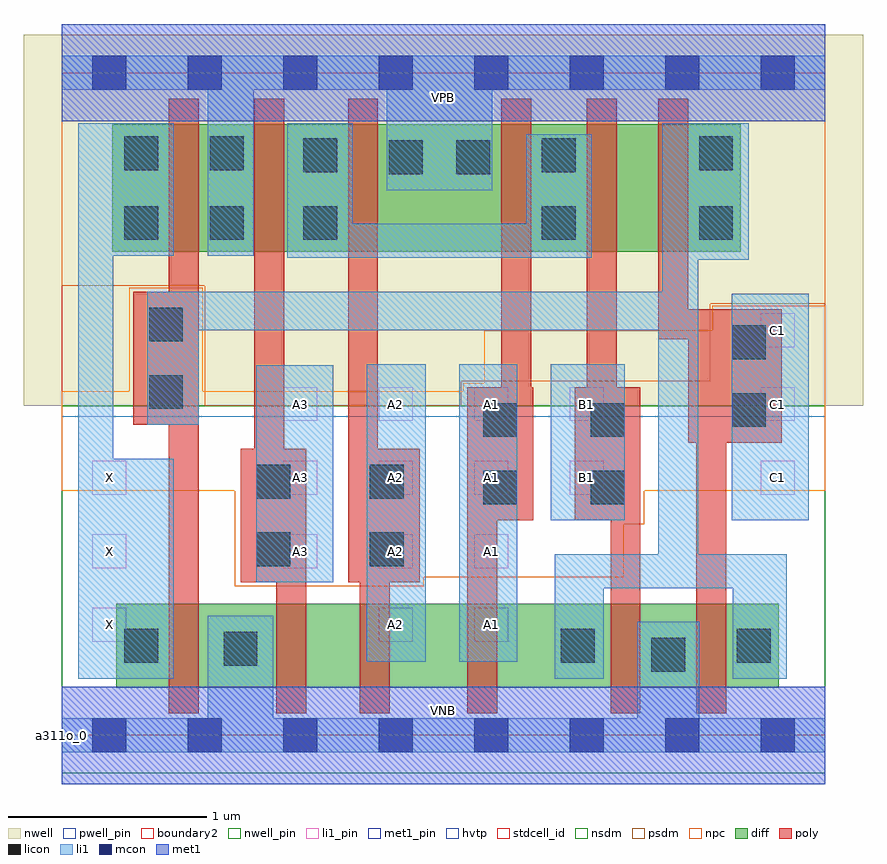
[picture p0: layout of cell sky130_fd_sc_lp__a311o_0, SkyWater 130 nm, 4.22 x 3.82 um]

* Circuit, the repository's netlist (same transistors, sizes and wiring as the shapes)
* Copyright 2020 The SkyWater PDK Authors
*
* Licensed under the Apache License, Version 2.0 (the "License");
* you may not use this file except in compliance with the License.
* You may obtain a copy of the License at
*
*     https://www.apache.org/licenses/LICENSE-2.0
*
* Unless required by applicable law or agreed to in writing, software
* distributed under the License is distributed on an "AS IS" BASIS,
* WITHOUT WARRANTIES OR CONDITIONS OF ANY KIND, either express or implied.
* See the License for the specific language governing permissions and
* limitations under the License.
*
* SPDX-License-Identifier: Apache-2.0

.SUBCKT sky130_fd_sc_lp__a311o_0 A1 A2 A3 B1 C1 VGND VNB VPB VPWR X
*.PININFO A1:I A2:I A3:I B1:I C1:I VGND:I VNB:I VPB:I VPWR:I X:O
MMPA0 pndA A1 VPWR VPB sky130_fd_pr__pfet_01v8_hvt m=1 w=0.64U l=0.15U mult=1 sa=0.265
+ sb=0.265 sd=0.28 area=0.063 perim=1.14
MMPA1 pndA A2 VPWR VPB sky130_fd_pr__pfet_01v8_hvt m=1 w=0.64U l=0.15U mult=1 sa=0.265
+ sb=0.265 sd=0.28 area=0.063 perim=1.14
MMPA2 pndA A3 VPWR VPB sky130_fd_pr__pfet_01v8_hvt m=1 w=0.64U l=0.15U mult=1 sa=0.265
+ sb=0.265 sd=0.28 area=0.063 perim=1.14
MMPB0 pndB B1 pndA VPB sky130_fd_pr__pfet_01v8_hvt m=1 w=0.64U l=0.15U mult=1 sa=0.265
+ sb=0.265 sd=0.28 area=0.063 perim=1.14
MMPC0 y C1 pndB VPB sky130_fd_pr__pfet_01v8_hvt m=1 w=0.64U l=0.15U mult=1 sa=0.265
+ sb=0.265 sd=0.28 area=0.063 perim=1.14
MMIPX X y VPWR VPB sky130_fd_pr__pfet_01v8_hvt m=1 w=0.64U l=0.15U mult=1 sa=0.265
+ sb=0.265 sd=0.28 area=0.063 perim=1.14
MMNA0 y A1 sndA1 VNB sky130_fd_pr__nfet_01v8 m=1 w=0.42U l=0.15U mult=1 sa=0.265
+ sb=0.265 sd=0.28 area=0.063 perim=1.14
MMNA1 sndA1 A2 sndA2 VNB sky130_fd_pr__nfet_01v8 m=1 w=0.42U l=0.15U mult=1 sa=0.265
+ sb=0.265 sd=0.28 area=0.063 perim=1.14
MMNA2 sndA2 A3 VGND VNB sky130_fd_pr__nfet_01v8 m=1 w=0.42U l=0.15U mult=1 sa=0.265
+ sb=0.265 sd=0.28 area=0.063 perim=1.14
MMNB0 y B1 VGND VNB sky130_fd_pr__nfet_01v8 m=1 w=0.42U l=0.15U mult=1 sa=0.265
+ sb=0.265 sd=0.28 area=0.063 perim=1.14
MMNC0 y C1 VGND VNB sky130_fd_pr__nfet_01v8 m=1 w=0.42U l=0.15U mult=1 sa=0.265
+ sb=0.265 sd=0.28 area=0.063 perim=1.14
MMINX X y VGND VNB sky130_fd_pr__nfet_01v8 m=1 w=0.42U l=0.15U mult=1 sa=0.265
+ sb=0.265 sd=0.28 area=0.063 perim=1.14
.ENDS sky130_fd_sc_lp__a311o_0

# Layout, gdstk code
import gdstk
lib = gdstk.Library(unit=1e-6, precision=1e-09)
def R(c, l, rs):  # rectangles x0, y0, x1, y1
    for r in rs: c.add(gdstk.rectangle(r[:2], r[2:], *l))
def A(c, l, x, y, w, h, nx, ny, dx, dy):  # array of equal rectangles
    R(c, l, [(x+i*dx, y+j*dy, x+i*dx+w, y+j*dy+h) for i in range(nx) for j in range(ny)])
def P(c, l, *ps):  # polygons
    for p in ps: c.add(gdstk.Polygon(p, *l))
nwell_pin = (64, 16)
nwell = (64, 20)
diff = (65, 20)
poly = (66, 20)
licon = (66, 44)
li1_pin = (67, 16)
li1 = (67, 20)
mcon = (67, 44)
met1_pin = (68, 16)
met1 = (68, 20)
hvtp = (78, 44)
stdcell_id = (81, 4)
nsdm = (93, 44)
psdm = (94, 20)
npc = (95, 20)
pwell_pin = (122, 16)
boundary2 = (236, 0)

sky130_fd_sc_lp__a311o_0 = lib.new_cell('sky130_fd_sc_lp__a311o_0')
R(sky130_fd_sc_lp__a311o_0, nwell_pin, [(0,3.085,3.84,3.33)])
R(sky130_fd_sc_lp__a311o_0, nwell, [(-0.19,1.655,4.03,3.52)])
R(sky130_fd_sc_lp__a311o_0, diff, [(0.275,0.24,3.605,0.66), (0.255,2.43,3.415,3.07)])
P(sky130_fd_sc_lp__a311o_0, poly, [(0.69,3.2),(0.54,3.2),(0.54,2.23),(0.36,2.23),(0.36,1.56),(0.54,1.56),(0.54,0.11),(0.69,0.11)],
  [(1.23,1.44),(1.12,1.44),(1.12,3.2),(0.97,3.2),(0.97,1.44),(0.9,1.44),(0.9,0.77),(1.08,0.77),(1.08,0.11),(1.23,0.11)],
  [(1.8,1.44),(1.59,1.44),(1.59,3.2),(1.44,3.2),(1.44,0.77),(1.5,0.77),(1.5,0.11),(1.65,0.11),(1.65,0.77),(1.8,0.77)],
  [(2.37,1.75),(2.36,1.75),(2.36,3.2),(2.21,3.2),(2.21,1.75),(2.04,1.75),(2.04,0.11),(2.19,0.11),(2.19,1.08),(2.37,1.08)],
  [(2.91,1.75),(2.79,1.75),(2.79,3.2),(2.64,3.2),(2.64,1.75),(2.58,1.75),(2.58,1.08),(2.76,1.08),(2.76,0.11),(2.91,0.11)],
  [(3.62,2.14),(3.15,2.14),(3.15,3.2),(3,3.2),(3,1.99),(3.15,1.99),(3.15,1.47),(3.19,1.47),(3.19,0.11),(3.34,0.11),(3.34,1.47),(3.62,1.47)])
R(sky130_fd_sc_lp__a311o_0, licon, [(2.965,0.32,3.135,0.49), (0.815,0.35,0.985,0.52), (0.315,0.365,0.485,0.535), (2.51,0.365,2.68,0.535), (3.395,0.365,3.565,0.535), (0.98,0.85,1.15,1.02), (1.55,0.85,1.72,1.02), (2.12,1.16,2.29,1.33), (2.66,1.16,2.83,1.33), (0.98,1.19,1.15,1.36), (1.55,1.19,1.72,1.36), (2.12,1.5,2.29,1.67), (2.66,1.5,2.83,1.67), (3.37,1.55,3.54,1.72), (0.44,1.64,0.61,1.81), (3.37,1.89,3.54,2.06), (0.44,1.98,0.61,2.15), (0.315,2.49,0.485,2.66), (0.745,2.49,0.915,2.66), (1.215,2.49,1.385,2.66), (2.415,2.49,2.585,2.66), (3.205,2.49,3.375,2.66), (1.645,2.82,1.815,2.99), (1.985,2.82,2.155,2.99), (1.215,2.83,1.385,3), (2.415,2.83,2.585,3), (0.315,2.84,0.485,3.01), (0.745,2.84,0.915,3.01), (3.205,2.84,3.375,3.01)])
A(sky130_fd_sc_lp__a311o_0, li1_pin, 0.155, 0.47, 0.17, 0.17, 1, 3, 0, 0.37)
A(sky130_fd_sc_lp__a311o_0, li1_pin, 1.115, 0.84, 0.17, 0.17, 3, 1, 0.48, 0)
A(sky130_fd_sc_lp__a311o_0, li1_pin, 1.115, 1.21, 0.17, 0.17, 4, 2, 0.48, 0.37)
A(sky130_fd_sc_lp__a311o_0, li1_pin, 3.515, 1.21, 0.17, 0.17, 1, 3, 0, 0.37)
R(sky130_fd_sc_lp__a311o_0, li1_pin, [(1.595,0.47,1.765,0.64), (2.075,0.47,2.245,0.64)])
R(sky130_fd_sc_lp__a311o_0, li1, [(1.535,0.37,1.83,1.865), (2,0.37,2.29,1.865), (0.98,0.77,1.365,1.86), (2.46,1.08,2.83,1.865), (3.37,1.08,3.755,2.22)])
P(sky130_fd_sc_lp__a311o_0, li1, [(0.565,1.39),(0.26,1.39),(0.26,2.41),(0.565,2.41),(0.565,3.075),(0.085,3.075),(0.085,0.285),(0.565,0.285)],
  [(3.645,0.91),(3.2,0.91),(3.2,2.39),(3.455,2.39),(3.455,3.075),(3.02,3.075),(3.02,2.23),(0.43,2.23),(0.43,1.56),(0.69,1.56),(0.69,2.035),(3,2.035),(3,0.91),(2.48,0.91),(2.48,0.285),(2.725,0.285),(2.725,0.74),(3.375,0.74),(3.375,0.285),(3.645,0.285)],
  [(3.84,3.415),(0,3.415),(0,3.245),(0.735,3.245),(0.735,2.41),(0.965,2.41),(0.965,3.245),(1.635,3.245),(1.635,2.74),(2.165,2.74),(2.165,3.245),(3.84,3.245)],
  [(2.665,3.02),(2.335,3.02),(2.335,2.57),(1.465,2.57),(1.465,3.075),(1.135,3.075),(1.135,2.4),(2.665,2.4)],
  [(3.84,0.085),(3.205,0.085),(3.205,0.57),(2.895,0.57),(2.895,0.085),(1.065,0.085),(1.065,0.6),(0.735,0.6),(0.735,0.085),(0,0.085),(0,-0.085),(3.84,-0.085)])
A(sky130_fd_sc_lp__a311o_0, mcon, 0.155, -0.085, 0.17, 0.17, 8, 2, 0.48, 3.33)
R(sky130_fd_sc_lp__a311o_0, met1_pin, [(0,0,3.84,0.245), (0,3.085,3.84,3.33)])
R(sky130_fd_sc_lp__a311o_0, met1, [(0,-0.245,3.84,0.245), (0,3.085,3.84,3.575)])
R(sky130_fd_sc_lp__a311o_0, hvtp, [(0,1.6,3.84,3.33)])
R(sky130_fd_sc_lp__a311o_0, stdcell_id, [(0,0,3.84,3.33)])
R(sky130_fd_sc_lp__a311o_0, nsdm, [(0,-0.19,3.84,1.655)])
P(sky130_fd_sc_lp__a311o_0, psdm, [(3.84,3.52),(0,3.52),(0,2.26),(0.72,2.26),(0.72,1.655),(2.01,1.655),(2.01,1.78),(3.26,1.78),(3.26,2.17),(3.84,2.17)])
P(sky130_fd_sc_lp__a311o_0, npc, [(3.84,2.16),(3.27,2.16),(3.27,2.035),(2.125,2.035),(2.125,1.77),(2.02,1.77),(2.02,1.73),(0.71,1.73),(0.71,2.25),(0.34,2.25),(0.34,1.73),(0,1.73),(0,1.23),(0.87,1.23),(0.87,0.75),(1.82,0.75),(1.82,0.795),(2.825,0.795),(2.825,1.06),(2.93,1.06),(2.93,1.23),(3.84,1.23)])
R(sky130_fd_sc_lp__a311o_0, pwell_pin, [(0,0,3.84,0.245)])
R(sky130_fd_sc_lp__a311o_0, boundary2, [(0,0,3.84,3.33)])
sky130_fd_sc_lp__a311o_0.add(gdstk.Label('VNB', (1.92,0.123), layer=64, texttype=59))
sky130_fd_sc_lp__a311o_0.add(gdstk.Label('VPB', (1.92,3.208), layer=64, texttype=5))
sky130_fd_sc_lp__a311o_0.add(gdstk.Label('a311o_0', (0,0), layer=83, texttype=44))
sky130_fd_sc_lp__a311o_0.add(gdstk.Label('VPWR', (1.92,3.208), layer=68, texttype=5))
sky130_fd_sc_lp__a311o_0.add(gdstk.Label('VGND', (1.92,0.123), layer=68, texttype=5))
sky130_fd_sc_lp__a311o_0.add(gdstk.Label('A1', (2.16,0.555), layer=67, texttype=5))
sky130_fd_sc_lp__a311o_0.add(gdstk.Label('A1', (2.16,0.925), layer=67, texttype=5))
sky130_fd_sc_lp__a311o_0.add(gdstk.Label('A1', (2.16,1.295), layer=67, texttype=5))
sky130_fd_sc_lp__a311o_0.add(gdstk.Label('A1', (2.16,1.665), layer=67, texttype=5))
sky130_fd_sc_lp__a311o_0.add(gdstk.Label('A2', (1.68,0.555), layer=67, texttype=5))
sky130_fd_sc_lp__a311o_0.add(gdstk.Label('A2', (1.68,0.925), layer=67, texttype=5))
sky130_fd_sc_lp__a311o_0.add(gdstk.Label('A2', (1.68,1.295), layer=67, texttype=5))
sky130_fd_sc_lp__a311o_0.add(gdstk.Label('A2', (1.68,1.665), layer=67, texttype=5))
sky130_fd_sc_lp__a311o_0.add(gdstk.Label('A3', (1.2,0.925), layer=67, texttype=5))
sky130_fd_sc_lp__a311o_0.add(gdstk.Label('A3', (1.2,1.295), layer=67, texttype=5))
sky130_fd_sc_lp__a311o_0.add(gdstk.Label('A3', (1.2,1.665), layer=67, texttype=5))
sky130_fd_sc_lp__a311o_0.add(gdstk.Label('B1', (2.64,1.295), layer=67, texttype=5))
sky130_fd_sc_lp__a311o_0.add(gdstk.Label('B1', (2.64,1.665), layer=67, texttype=5))
sky130_fd_sc_lp__a311o_0.add(gdstk.Label('C1', (3.6,1.295), layer=67, texttype=5))
sky130_fd_sc_lp__a311o_0.add(gdstk.Label('C1', (3.6,1.665), layer=67, texttype=5))
sky130_fd_sc_lp__a311o_0.add(gdstk.Label('C1', (3.6,2.035), layer=67, texttype=5))
sky130_fd_sc_lp__a311o_0.add(gdstk.Label('X', (0.24,0.555), layer=67, texttype=5))
sky130_fd_sc_lp__a311o_0.add(gdstk.Label('X', (0.24,0.925), layer=67, texttype=5))
sky130_fd_sc_lp__a311o_0.add(gdstk.Label('X', (0.24,1.295), layer=67, texttype=5))

lib.write_gds('sky130_fd_sc_lp__a311o_0.gds')
